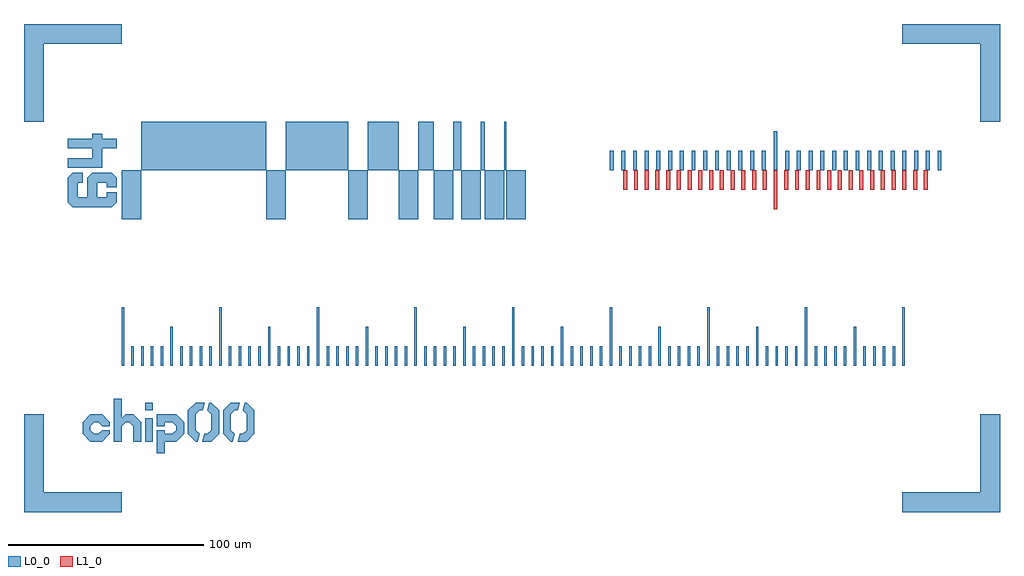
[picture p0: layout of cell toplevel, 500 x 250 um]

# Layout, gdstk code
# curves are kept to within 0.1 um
from math import pi, radians
import gdstk
lib = gdstk.Library(unit=1e-6, precision=1e-09)
def R(c, l, rs):  # rectangles x0, y0, x1, y1
    for r in rs: c.add(gdstk.rectangle(r[:2], r[2:], *l))
def A(c, l, x, y, w, h, nx, ny, dx, dy):  # array of equal rectangles
    R(c, l, [(x+i*dx, y+j*dy, x+i*dx+w, y+j*dy+h) for i in range(nx) for j in range(ny)])
def P(c, l, *ps):  # polygons
    for p in ps: c.add(gdstk.Polygon(p, *l))
L0_0 = (0, 0)
L1_0 = (1, 0)

text011 = lib.new_cell('text011')
P(text011, L0_0, [(16,4),(12,0),(6,0),(2,4),(2,10),(6,14),(12,14),(16,10),(16,8),(12,8),(10,10),(8,10),(6,8),(6,6),(8,4),(10,4),(12,6),(16,6)],
  [(28,0),(28,8),(26,10),(24,10),(22,8),(22,0),(18,0),(18,22),(22,22),(22,12),(24,14),(28,14),(32,10),(32,0)],
  [(34,0),(34,12),(38,12),(38,0),(34,0)],
  [(38,20),(38,16),(34,16),(34,20),(38,20)],
  [(40,14),(50,14),(54,10),(54,4),(50,0),(44,0),(44,-6),(40,-6),(40,6),(44,6),(44,4),(48,4),(50,6),(50,8),(48,10),(44,10),(44,8),(40,8)],
  [(62,16),(60,14),(60,6),(62,4),(61,0),(60,0),(56,4),(56,16),(60,20),(64.6,20),(63.6,16),(62,16)],
  [(66,4),(68,6),(68,14),(66,16),(67,20),(68,20),(72,16),(72,4),(68,0),(63.4,0),(64.4,4),(66,4)],
  [(80,16),(78,14),(78,6),(80,4),(79,0),(78,0),(74,4),(74,16),(78,20),(82.6,20),(81.6,16),(80,16)],
  [(84,4),(86,6),(86,14),(84,16),(85,20),(86,20),(90,16),(90,4),(86,0),(81.4,0),(82.4,4),(84,4)])

litho_ruler = lib.new_cell('litho_ruler')
A(litho_ruler, L0_0, -200, -50, 1.25, 30, 9, 1, 50, 0)
A(litho_ruler, L0_0, -195, -50, 1.25, 10, 4, 1, 5, 0)
A(litho_ruler, L0_0, -175, -50, 1.25, 20, 8, 1, 50, 0)
A(litho_ruler, L0_0, -170, -50, 1.25, 10, 4, 1, 5, 0)
A(litho_ruler, L0_0, -145, -50, 1.25, 10, 4, 1, 5, 0)
A(litho_ruler, L0_0, -120, -50, 1.25, 10, 4, 1, 5, 0)
A(litho_ruler, L0_0, -95, -50, 1.25, 10, 4, 1, 5, 0)
A(litho_ruler, L0_0, -70, -50, 1.25, 10, 4, 1, 5, 0)
A(litho_ruler, L0_0, -45, -50, 1.25, 10, 4, 1, 5, 0)
A(litho_ruler, L0_0, -20, -50, 1.25, 10, 4, 1, 5, 0)
A(litho_ruler, L0_0, 5, -50, 1.25, 10, 4, 1, 5, 0)
A(litho_ruler, L0_0, 30, -50, 1.25, 10, 4, 1, 5, 0)
A(litho_ruler, L0_0, 55, -50, 1.25, 10, 4, 1, 5, 0)
A(litho_ruler, L0_0, 80, -50, 1.25, 10, 4, 1, 5, 0)
A(litho_ruler, L0_0, 105, -50, 1.25, 10, 4, 1, 5, 0)
A(litho_ruler, L0_0, 130, -50, 1.25, 10, 4, 1, 5, 0)
A(litho_ruler, L0_0, 155, -50, 1.25, 10, 4, 1, 5, 0)
A(litho_ruler, L0_0, 180, -50, 1.25, 10, 4, 1, 5, 0)

text = lib.new_cell('text')
P(text, L0_0, [(-1.25,17.5),(-6.25,17.5),(-6.25,20),(-13.75,20),(-13.75,15),(-3.75,15),(-1.25,12.5),(-1.25,2.5),(-3.75,0),(-8.75,0),(-8.75,5),(-6.25,5),(-6.25,10),(-13.75,10),(-13.75,5),(-11.25,5),(-11.25,0),(-16.25,0),(-18.75,2.5),(-18.75,22.5),(-16.25,25),(-3.75,25),(-1.25,22.5)],
  [(18.75,12.5),(18.75,7.5),(16.25,7.5),(16.25,0),(11.25,0),(11.25,7.5),(1.25,7.5),(1.25,25),(6.25,25),(6.25,12.5),(11.25,12.5),(11.25,25),(16.25,25),(16.25,12.5),(18.75,12.5)])

rectangle = lib.new_cell('rectangle')
R(rectangle, L0_0, [(0,0,10,25)])

rectangle002 = lib.new_cell('rectangle002')
R(rectangle002, L0_0, [(0,0,64,25)])

rectangle003 = lib.new_cell('rectangle003')
R(rectangle003, L0_0, [(0,0,32,25)])

rectangle004 = lib.new_cell('rectangle004')
R(rectangle004, L0_0, [(0,0,16,25)])

rectangle005 = lib.new_cell('rectangle005')
R(rectangle005, L0_0, [(0,0,8,25)])

rectangle006 = lib.new_cell('rectangle006')
R(rectangle006, L0_0, [(0,0,4,25)])

rectangle007 = lib.new_cell('rectangle007')
R(rectangle007, L0_0, [(0,0,2,25)])

rectangle008 = lib.new_cell('rectangle008')
R(rectangle008, L0_0, [(0,0,1,25)])

litho_steps = lib.new_cell('litho_steps')
litho_steps.add(gdstk.Reference(text, (-202.5,50), rotation=pi/2))
litho_steps.add(gdstk.Reference(rectangle, (-200,25)))
litho_steps.add(gdstk.Reference(rectangle, (-126,25)))
litho_steps.add(gdstk.Reference(rectangle002, (-190,50)))
litho_steps.add(gdstk.Reference(rectangle, (-84,25)))
litho_steps.add(gdstk.Reference(rectangle003, (-116,50)))
litho_steps.add(gdstk.Reference(rectangle, (-58,25)))
litho_steps.add(gdstk.Reference(rectangle004, (-74,50)))
litho_steps.add(gdstk.Reference(rectangle, (-40,25)))
litho_steps.add(gdstk.Reference(rectangle005, (-48,50)))
litho_steps.add(gdstk.Reference(rectangle, (-26,25)))
litho_steps.add(gdstk.Reference(rectangle006, (-30,50)))
litho_steps.add(gdstk.Reference(rectangle, (-14,25)))
litho_steps.add(gdstk.Reference(rectangle007, (-16,50)))
litho_steps.add(gdstk.Reference(rectangle, (-3,25)))
litho_steps.add(gdstk.Reference(rectangle008, (-4,50)))

rectangle009 = lib.new_cell('rectangle009')
R(rectangle009, L0_0, [(0,0,2,10)])

rectangle010 = lib.new_cell('rectangle010')
R(rectangle010, L1_0, [(0,0,2,10)])

litho_calipers = lib.new_cell('litho_calipers')
litho_calipers.add(gdstk.Reference(rectangle009, (50,50)))
litho_calipers.add(gdstk.Reference(rectangle010, (57,40)))
litho_calipers.add(gdstk.Reference(rectangle009, (56,50)))
litho_calipers.add(gdstk.Reference(rectangle010, (62.5,40)))
litho_calipers.add(gdstk.Reference(rectangle009, (62,50)))
litho_calipers.add(gdstk.Reference(rectangle010, (68,40)))
litho_calipers.add(gdstk.Reference(rectangle009, (68,50)))
litho_calipers.add(gdstk.Reference(rectangle010, (73.5,40)))
litho_calipers.add(gdstk.Reference(rectangle009, (74,50)))
litho_calipers.add(gdstk.Reference(rectangle010, (79,40)))
litho_calipers.add(gdstk.Reference(rectangle009, (80,50)))
litho_calipers.add(gdstk.Reference(rectangle010, (84.5,40)))
litho_calipers.add(gdstk.Reference(rectangle009, (86,50)))
litho_calipers.add(gdstk.Reference(rectangle010, (90,40)))
litho_calipers.add(gdstk.Reference(rectangle009, (92,50)))
litho_calipers.add(gdstk.Reference(rectangle010, (95.5,40)))
litho_calipers.add(gdstk.Reference(rectangle009, (98,50)))
litho_calipers.add(gdstk.Reference(rectangle010, (101,40)))
litho_calipers.add(gdstk.Reference(rectangle009, (104,50)))
litho_calipers.add(gdstk.Reference(rectangle010, (106.5,40)))
litho_calipers.add(gdstk.Reference(rectangle009, (110,50)))
litho_calipers.add(gdstk.Reference(rectangle010, (112,40)))
litho_calipers.add(gdstk.Reference(rectangle009, (116,50)))
litho_calipers.add(gdstk.Reference(rectangle010, (117.5,40)))
litho_calipers.add(gdstk.Reference(rectangle009, (122,50)))
litho_calipers.add(gdstk.Reference(rectangle010, (123,40)))
litho_calipers.add(gdstk.Reference(rectangle009, (128,50)))
litho_calipers.add(gdstk.Reference(rectangle010, (128.5,40)))
litho_calipers.add(gdstk.Reference(rectangle009, (134,60)))
litho_calipers.add(gdstk.Reference(rectangle010, (134,30)))
litho_calipers.add(gdstk.Reference(rectangle009, (134,50)))
litho_calipers.add(gdstk.Reference(rectangle010, (134,40)))
litho_calipers.add(gdstk.Reference(rectangle009, (140,50)))
litho_calipers.add(gdstk.Reference(rectangle010, (139.5,40)))
litho_calipers.add(gdstk.Reference(rectangle009, (146,50)))
litho_calipers.add(gdstk.Reference(rectangle010, (145,40)))
litho_calipers.add(gdstk.Reference(rectangle009, (152,50)))
litho_calipers.add(gdstk.Reference(rectangle010, (150.5,40)))
litho_calipers.add(gdstk.Reference(rectangle009, (158,50)))
litho_calipers.add(gdstk.Reference(rectangle010, (156,40)))
litho_calipers.add(gdstk.Reference(rectangle009, (164,50)))
litho_calipers.add(gdstk.Reference(rectangle010, (161.5,40)))
litho_calipers.add(gdstk.Reference(rectangle009, (170,50)))
litho_calipers.add(gdstk.Reference(rectangle010, (167,40)))
litho_calipers.add(gdstk.Reference(rectangle009, (176,50)))
litho_calipers.add(gdstk.Reference(rectangle010, (172.5,40)))
litho_calipers.add(gdstk.Reference(rectangle009, (182,50)))
litho_calipers.add(gdstk.Reference(rectangle010, (178,40)))
litho_calipers.add(gdstk.Reference(rectangle009, (188,50)))
litho_calipers.add(gdstk.Reference(rectangle010, (183.5,40)))
litho_calipers.add(gdstk.Reference(rectangle009, (194,50)))
litho_calipers.add(gdstk.Reference(rectangle010, (189,40)))
litho_calipers.add(gdstk.Reference(rectangle009, (200,50)))
litho_calipers.add(gdstk.Reference(rectangle010, (194.5,40)))
litho_calipers.add(gdstk.Reference(rectangle009, (206,50)))
litho_calipers.add(gdstk.Reference(rectangle010, (200,40)))
litho_calipers.add(gdstk.Reference(rectangle009, (212,50)))
litho_calipers.add(gdstk.Reference(rectangle010, (205.5,40)))
litho_calipers.add(gdstk.Reference(rectangle009, (218,50)))
litho_calipers.add(gdstk.Reference(rectangle010, (211,40)))

toplevel = lib.new_cell('toplevel')
P(toplevel, L0_0, [(250,125),(250,75),(240,75),(240,115),(200,115),(200,125)],
  [(-250,125),(-250,75),(-240,75),(-240,115),(-200,115),(-200,125)],
  [(250,-125),(250,-75),(240,-75),(240,-115),(200,-115),(200,-125)],
  [(-250,-125),(-250,-75),(-240,-75),(-240,-115),(-200,-115),(-200,-125)])
toplevel.add(gdstk.Reference(text011, (-222,-89)))
toplevel.add(gdstk.Reference(litho_ruler, (0,0)))
toplevel.add(gdstk.Reference(litho_steps, (0,0)))
toplevel.add(gdstk.Reference(litho_calipers, (0,0)))

lib.write_gds('toplevel.gds')
